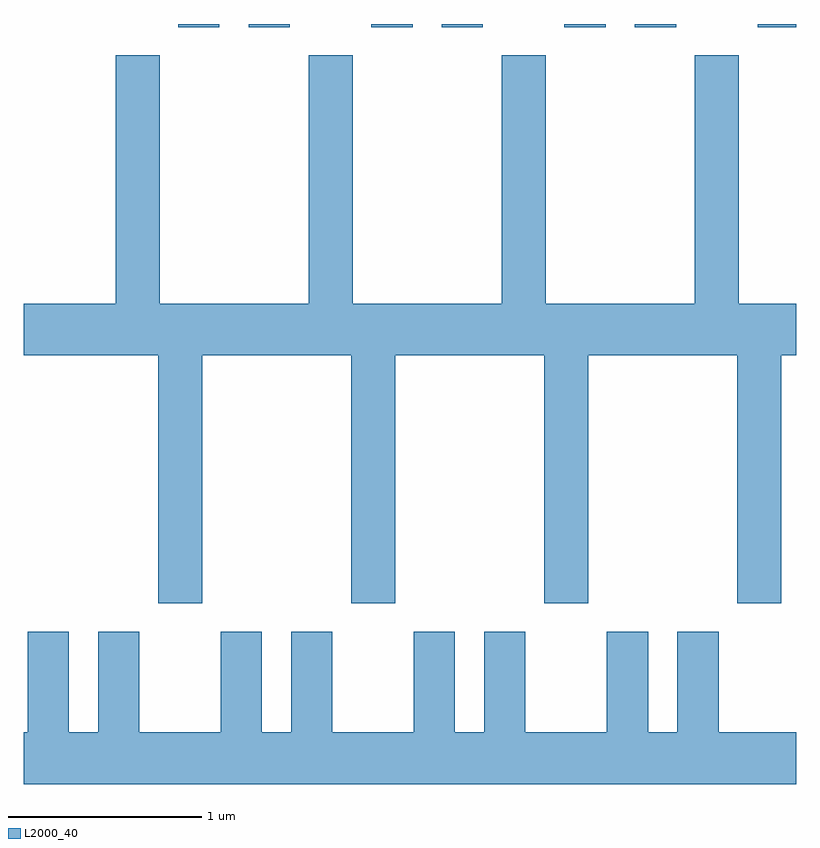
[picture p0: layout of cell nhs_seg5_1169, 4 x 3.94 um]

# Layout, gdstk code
import gdstk
lib = gdstk.Library(unit=1e-6, precision=1e-09)
def R(c, l, rs):  # rectangles x0, y0, x1, y1
    for r in rs: c.add(gdstk.rectangle(r[:2], r[2:], *l))
def P(c, l, *ps):  # polygons
    for p in ps: c.add(gdstk.Polygon(p, *l))
L2000_40 = (2000, 40)

nhs_seg5_1169 = lib.new_cell('nhs_seg5_1169')
R(nhs_seg5_1169, L2000_40, [(220.411,1454.056,220.624,1454.072), (220.776,1454.056,220.989,1454.072), (221.411,1454.056,221.624,1454.072), (221.776,1454.056,221.989,1454.072), (222.411,1454.056,222.624,1454.072), (222.776,1454.056,222.989,1454.072), (223.411,1454.056,223.611,1454.072)])
P(nhs_seg5_1169, L2000_40, [(220.534,1452.356),(221.306,1452.356),(221.306,1451.071),(221.534,1451.071),(221.534,1452.356),(222.306,1452.356),(222.306,1451.071),(222.534,1451.071),(222.534,1452.356),(223.306,1452.356),(223.306,1451.071),(223.534,1451.071),(223.534,1452.356),(223.611,1452.356),(223.611,1452.624),(223.314,1452.624),(223.314,1453.909),(223.086,1453.909),(223.086,1452.624),(222.314,1452.624),(222.314,1453.909),(222.086,1453.909),(222.086,1452.624),(221.314,1452.624),(221.314,1453.909),(221.086,1453.909),(221.086,1452.624),(220.314,1452.624),(220.314,1453.909),(220.086,1453.909),(220.086,1452.624),(219.611,1452.624),(219.611,1452.356),(220.306,1452.356),(220.306,1451.071),(220.534,1451.071)],
  [(223.611,1450.404),(223.209,1450.404),(223.209,1450.924),(222.996,1450.924),(222.996,1450.404),(222.844,1450.404),(222.844,1450.924),(222.631,1450.924),(222.631,1450.404),(222.209,1450.404),(222.209,1450.924),(221.996,1450.924),(221.996,1450.404),(221.844,1450.404),(221.844,1450.924),(221.631,1450.924),(221.631,1450.404),(221.209,1450.404),(221.209,1450.924),(220.996,1450.924),(220.996,1450.404),(220.844,1450.404),(220.844,1450.924),(220.631,1450.924),(220.631,1450.404),(220.209,1450.404),(220.209,1450.924),(219.996,1450.924),(219.996,1450.404),(219.844,1450.404),(219.844,1450.924),(219.631,1450.924),(219.631,1450.404),(219.611,1450.404),(219.611,1450.136),(223.611,1450.136)])

lib.write_gds('nhs_seg5_1169.gds')
